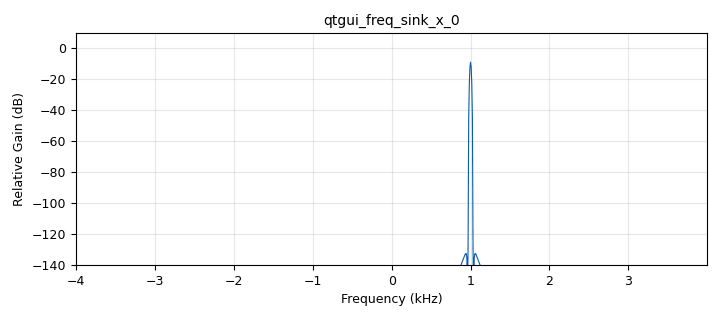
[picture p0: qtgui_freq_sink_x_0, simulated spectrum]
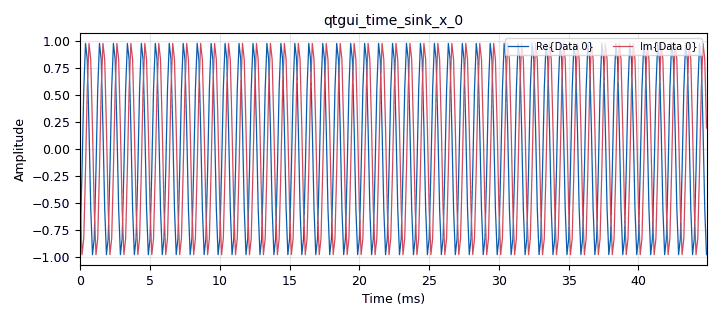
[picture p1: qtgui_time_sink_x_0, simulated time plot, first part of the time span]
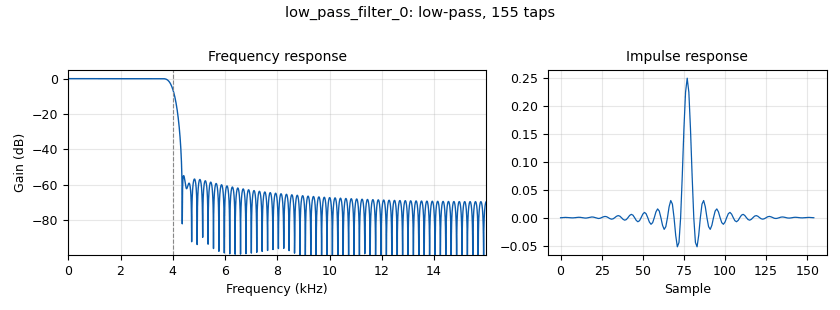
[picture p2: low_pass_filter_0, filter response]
options:
  parameters:
    generate_options: qt_gui
    id: Lesson1
    output_language: python
    title: Lesson1
  states: {}

blocks:
- name: decimate
  id: variable
  parameters:
    value: '4'
  states: {}
- name: freq
  id: variable_qtgui_range
  parameters:
    start: '-nyquist_rate'
    step: '1'
    stop: nyquist_rate
    value: '1000'
  states: {}
- name: nyquist_rate
  id: variable
  parameters:
    value: samp_rate/2
  states: {}
- name: samp_rate
  id: variable
  parameters:
    value: '32000'
  states: {}
- name: analog_sig_source_x_0
  id: analog_sig_source_x
  parameters:
    amp: '1'
    freq: freq
    offset: '0'
    phase: '0'
    samp_rate: samp_rate
    type: complex
    waveform: analog.GR_COS_WAVE
  states: {}
- name: blocks_throttle2_0
  id: blocks_throttle2
  parameters:
    samples_per_second: samp_rate
    type: complex
  states: {}
- name: low_pass_filter_0
  id: low_pass_filter
  parameters:
    cutoff_freq: samp_rate/2/decimate
    decim: decimate
    gain: '1'
    samp_rate: samp_rate
    type: fir_filter_ccf
    width: samp_rate/64
    win: window.WIN_HAMMING
  states: {}
- name: qtgui_freq_sink_x_0
  id: qtgui_freq_sink_x
  parameters:
    bw: samp_rate/decimate
    fc: '0'
    fftsize: '1024'
    grid: 'True'
    type: complex
  states: {}
- name: qtgui_time_sink_x_0
  id: qtgui_time_sink_x
  parameters:
    autoscale: 'True'
    grid: 'True'
    size: '1024'
    srate: samp_rate/decimate
    type: complex
  states: {}

connections:
- [analog_sig_source_x_0, '0', blocks_throttle2_0, '0']
- [blocks_throttle2_0, '0', low_pass_filter_0, '0']
- [low_pass_filter_0, '0', qtgui_freq_sink_x_0, '0']
- [low_pass_filter_0, '0', qtgui_time_sink_x_0, '0']

metadata:
  file_format: 1
  grc_version: 3.10.9.2
